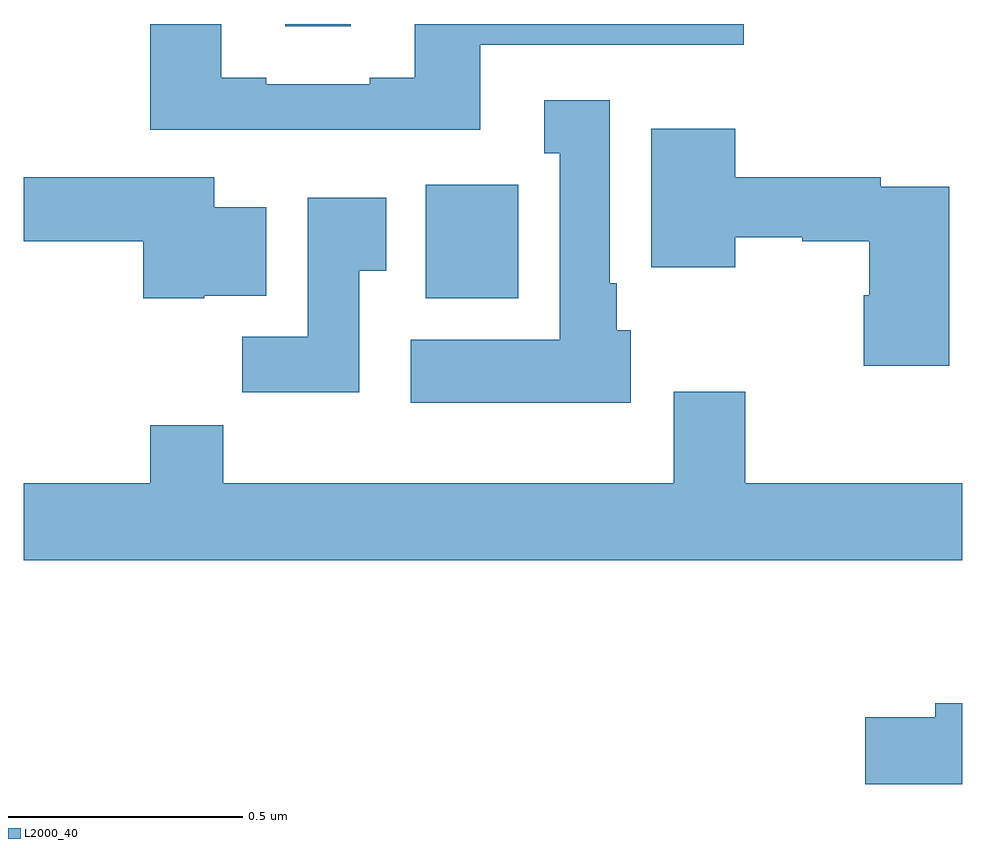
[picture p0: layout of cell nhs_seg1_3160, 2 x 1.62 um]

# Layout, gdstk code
import gdstk
lib = gdstk.Library(unit=1e-6, precision=1e-09)
def R(c, l, rs):  # rectangles x0, y0, x1, y1
    for r in rs: c.add(gdstk.rectangle(r[:2], r[2:], *l))
def P(c, l, *ps):  # polygons
    for p in ps: c.add(gdstk.Polygon(p, *l))
L2000_40 = (2000, 40)

nhs_seg1_3160 = lib.new_cell('nhs_seg1_3160')
R(nhs_seg1_3160, L2000_40, [(150.857,561.614,151.054,561.856), (150.557,562.194,150.697,562.199)])
P(nhs_seg1_3160, L2000_40, [(150.973,562.155),(151.534,562.155),(151.534,562.199),(150.833,562.199),(150.833,562.084),(150.737,562.084),(150.737,562.071),(150.517,562.071),(150.517,562.084),(150.421,562.084),(150.421,562.199),(150.269,562.199),(150.269,561.974),(150.973,561.974)],
  [(151.294,561.546),(151.264,561.546),(151.264,561.646),(151.249,561.646),(151.249,562.036),(151.109,562.036),(151.109,561.923),(151.142,561.923),(151.142,561.526),(150.825,561.526),(150.825,561.392),(151.294,561.392)],
  [(151.973,561.852),(151.826,561.852),(151.826,561.872),(151.516,561.872),(151.516,561.976),(151.337,561.976),(151.337,561.68),(151.516,561.68),(151.516,561.744),(151.659,561.744),(151.659,561.736),(151.802,561.736),(151.802,561.621),(151.79,561.621),(151.79,561.471),(151.973,561.471)],
  [(150.384,561.62),(150.517,561.62),(150.517,561.808),(150.406,561.808),(150.406,561.872),(150,561.872),(150,561.736),(150.254,561.736),(150.254,561.614),(150.384,561.614)],
  [(150.715,561.673),(150.772,561.673),(150.772,561.829),(150.605,561.829),(150.605,561.532),(150.466,561.532),(150.466,561.414),(150.715,561.414)],
  [(152,561.22),(151.538,561.22),(151.538,561.415),(151.385,561.415),(151.385,561.22),(150.425,561.22),(150.425,561.344),(150.269,561.344),(150.269,561.22),(150,561.22),(150,561.056),(152,561.056)],
  [(152,560.751),(151.943,560.751),(151.943,560.721),(151.794,560.721),(151.794,560.579),(152,560.579)])

lib.write_gds('nhs_seg1_3160.gds')
